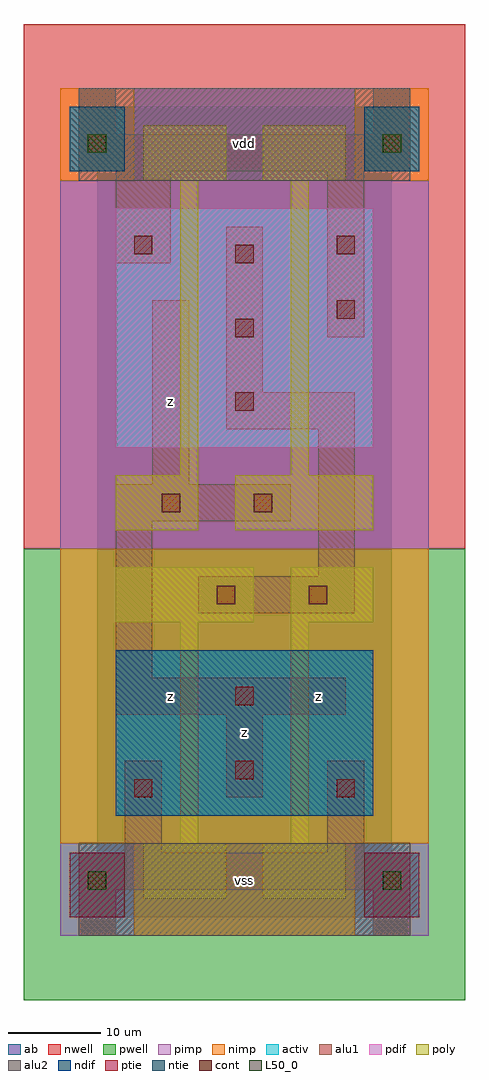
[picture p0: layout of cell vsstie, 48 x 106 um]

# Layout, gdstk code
import gdstk
lib = gdstk.Library(unit=1e-6, precision=1e-09)
def R(c, l, rs):  # rectangles x0, y0, x1, y1
    for r in rs: c.add(gdstk.rectangle(r[:2], r[2:], *l))
def A(c, l, x, y, w, h, nx, ny, dx, dy):  # array of equal rectangles
    R(c, l, [(x+i*dx, y+j*dy, x+i*dx+w, y+j*dy+h) for i in range(nx) for j in range(ny)])
ndif = (3, 0)
pdif = (4, 0)
ntie = (5, 0)
ptie = (6, 0)
cont = (25, 0)
pwell = (41, 0)
nwell = (42, 0)
activ = (43, 0)
pimp = (44, 0)
nimp = (45, 0)
poly = (46, 0)
alu1 = (49, 0)
L50_0 = (50, 0)
alu2 = (51, 0)
ab = (63, 0)

vsstie = lib.new_cell('vsstie')
R(vsstie, ndif, [(2,11,30,29)])
R(vsstie, pdif, [(2,51,30,77)])
R(vsstie, ntie, [(-3,81,3,88), (29,81,35,88)])
R(vsstie, ptie, [(-3,0,3,7), (29,0,35,7)])
A(vsstie, cont, 15, 55, 2, 2, 1, 3, 0, 8)
R(vsstie, cont, [(-1,3,1,5), (31,3,33,5), (4,13,6,15), (26,13,28,15), (15,15,17,17), (15,23,17,25), (13,34,15,36), (23,34,25,36), (7,44,9,46), (17,44,19,46), (26,65,28,67), (4,72,6,74), (26,72,28,74), (-1,83,1,85), (31,83,33,85)])
R(vsstie, pwell, [(-8,-9,40,40)])
R(vsstie, nwell, [(-8,40,40,97)])
R(vsstie, activ, [(-3,0,3,7), (29,0,35,7), (2,11,30,29), (2,51,30,77), (-3,81,3,88), (29,81,35,88)])
R(vsstie, pimp, [(-4,-2,4,8), (28,-2,36,8), (-4,40,36,80), (4,80,28,90)])
R(vsstie, nimp, [(4,-2,28,8), (-4,8,36,40), (-4,80,4,90), (28,80,36,90)])
R(vsstie, poly, [(5,2,14,8), (18,2,27,8), (9,8,11,32), (21,8,23,32), (2,32,17,38), (21,32,30,38), (2,42,11,48), (15,42,30,48), (9,48,11,80), (21,48,23,80), (5,80,14,86), (18,80,27,86)])
R(vsstie, alu1, [(-2,-2,2,3), (30,-2,34,3), (-2,3,34,7), (3,7,7,17), (25,7,29,17), (14,13,18,22), (2,22,27,26), (2,26,6,43), (11,33,28,37), (24,37,28,53), (2,43,21,47), (6,47,10,67), (14,53,28,57), (14,57,18,75), (25,63,29,81), (2,71,8,81), (-2,81,34,85), (-2,85,2,90), (30,85,34,90)])
R(vsstie, L50_0, [(-1,3,1,5), (31,3,33,5), (-1,83,1,85), (31,83,33,85)])
R(vsstie, alu2, [(-2,-2,34,8), (-2,80,34,90)])
R(vsstie, ab, [(0,0,32,88)])
vsstie.add(gdstk.Label('z', (8,24), layer=49, texttype=0))
vsstie.add(gdstk.Label('z', (8,56), layer=49, texttype=0))
vsstie.add(gdstk.Label('z', (16,20), layer=49, texttype=0))
vsstie.add(gdstk.Label('z', (24,24), layer=49, texttype=0))
vsstie.add(gdstk.Label('vss', (16,4), layer=51, texttype=0))
vsstie.add(gdstk.Label('vdd', (16,84), layer=51, texttype=0))

lib.write_gds('vsstie.gds')
